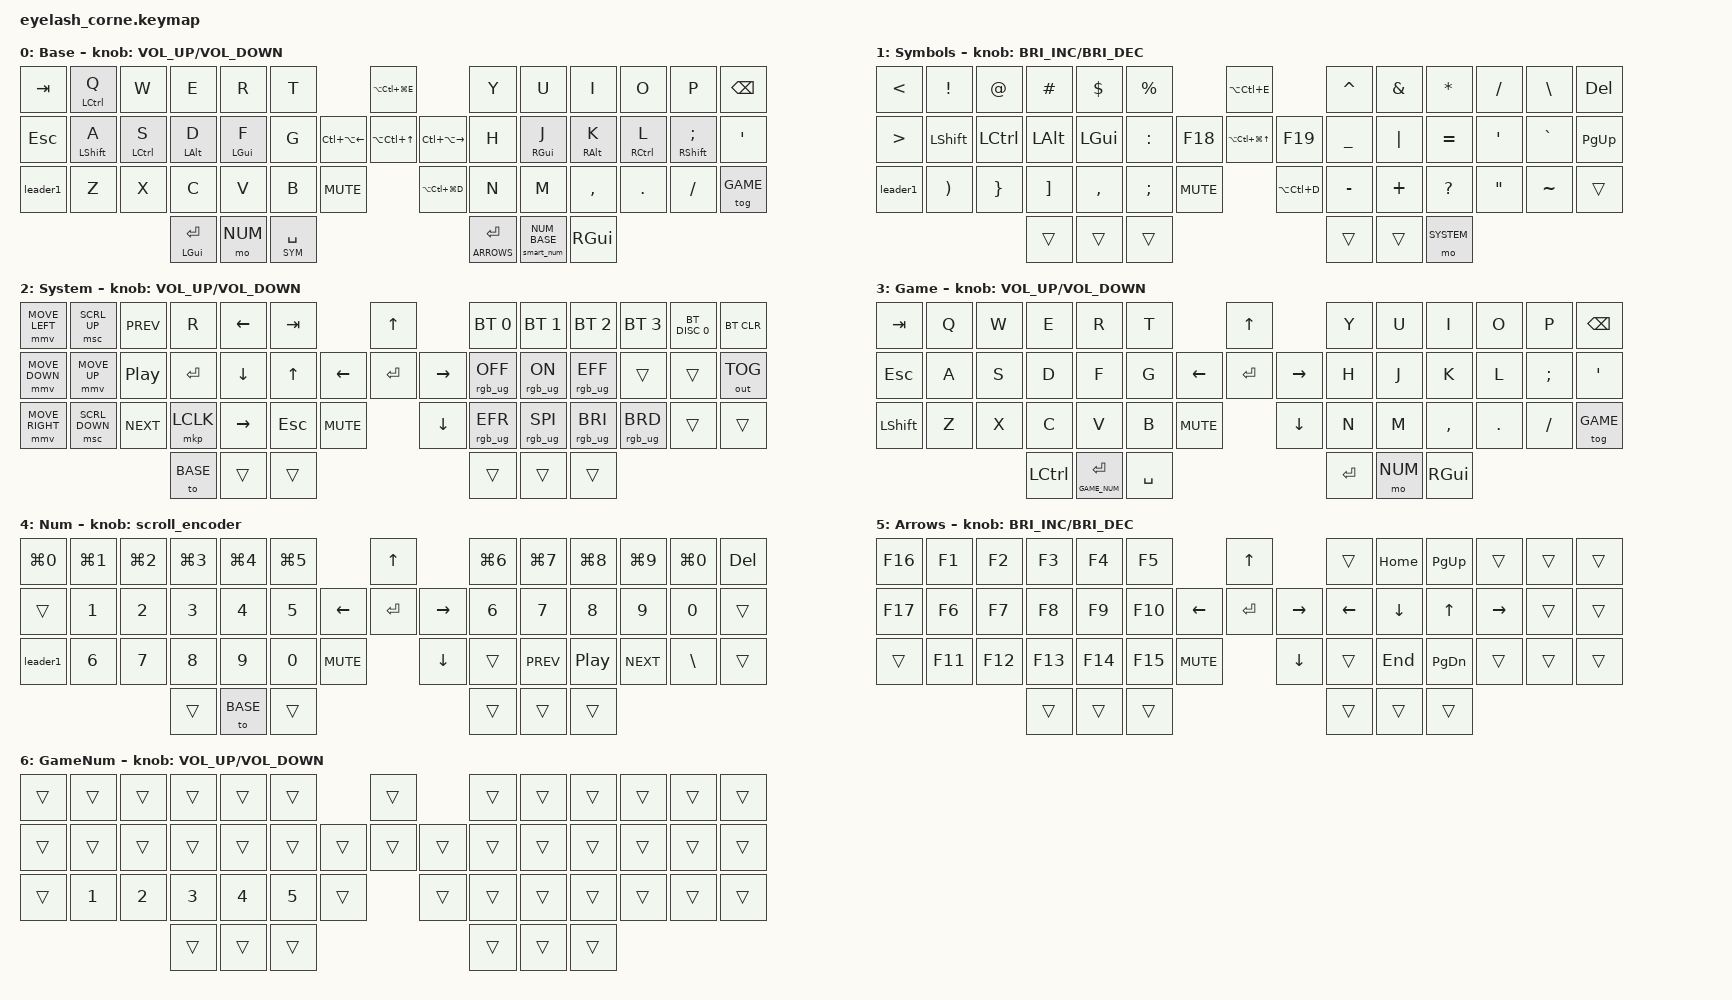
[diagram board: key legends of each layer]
// Настройки указателя мыши
#define ZMK_POINTING_DEFAULT_MOVE_VAL 600  // Скорость движения курсора
#define ZMK_POINTING_DEFAULT_SCRL_VAL 25   // Скорость прокрутки

// Подключение необходимых библиотек и определений
#include <input/processors.dtsi>
#include <zephyr/dt-bindings/input/input-event-codes.h>
#include <behaviors.dtsi>
#include <behaviors/num_word.dtsi> 

#include <dt-bindings/zmk/bt.h>
#include <dt-bindings/zmk/ext_power.h>
#include <dt-bindings/zmk/keys.h>
#include <dt-bindings/zmk/outputs.h>
#include <dt-bindings/zmk/pointing.h>
#include <dt-bindings/zmk/rgb.h>

// Пользовательские хелперы и определения
#include "zmk-helpers/helper.h"
#include "eyelash_corne/keymap.h"

// Определение слоев клавиатуры
#define BASE 0      // Основной слой
#define SYM 1       // Слой символов
#define SYSTEM 2    // Системный слой
#define GAME 3      // Игровой слой
#define NUM 4       // Цифровой слой
#define ARROWS 5    // Стрелки
#define GAME_NUM 6  // Игровой подслой цифр (слоты оружия, удержание среднего тумба в GAME)

// Определение групп клавиш для удобства настройки
#define KEYS_L LT0 LT1 LT2 LT3 LT4 LT5 LM0 LM1 LM2 LM3 LM4 LM5 LB0 LB1 LB2 LB3 LB4 LB5  // Левая половина
#define KEYS_R RT0 RT1 RT2 RT3 RT4 RT5 RM0 RM1 RM2 RM3 RM4 RM5 RB0 RB1 RB2 RB3 RB4 RB5  // Правая половина
#define THUMBS LH2 LH1 LH0 RH0 RH1 RH2   // Клавиши для больших пальцев

// Время для быстрого нажатия в миллисекундах
#define QUICK_TAP_MS 175

// Определение комбинации копирования/вырезания: копировать по одному нажатию, вырезать по двойному
// Не используется
ZMK_TAP_DANCE(copy_cut, bindings = <&kp LG(C)>, <&kp LG(X)>;
              tapping-term-ms = <200>;)

// Переключение слоев по двойному нажатию
// Не используется
ZMK_TAP_DANCE(layerdance, bindings = <&tog NUM>, <&tog ARROWS>;
              tapping-term-ms = <200>;)

// удержание или одиночное нажатие - LGUI, двойное нажатие - ENTER
ZMK_TAP_DANCE(td_gui_ret, bindings = <&kp LGUI>, <&kp ENTER>;
              tapping-term-ms = <200>;)
              
// удержание или одиночное нажатие - LCTRL, двойное нажатие - SPACE
ZMK_TAP_DANCE(td_ctrl_spc, bindings = <&kp LCTRL>, <&kp SPACE>;
              tapping-term-ms = <220>;)
              
// Настройка поведения клавиш home-row mods для левой руки
ZMK_HOLD_TAP(hml,
    flavor = "tap-preferred";
    tapping-term-ms = <180>;
    require-prior-idle-ms = <QUICK_TAP_MS>;
    quick-tap-ms = <QUICK_TAP_MS>;
    bindings = <&kp>, <&kp>;
)

// Настройка поведения клавиш home-row mods для правой руки
ZMK_HOLD_TAP(hmr,
    flavor = "tap-preferred";
    tapping-term-ms = <180>;
    require-prior-idle-ms = <QUICK_TAP_MS>;
    quick-tap-ms = <QUICK_TAP_MS>;
    bindings = <&kp>, <&kp>;
)

// Настройка масштабирования движения мыши
&mmv_input_listener { input-processors = <&zip_xy_scaler 2 1>; };

// Настройка масштабирования прокрутки
&msc_input_listener { input-processors = <&zip_scroll_scaler 2 1>; };

// Определение умного цифрового слоя
// Удерживаете клавишу - временный доступ к цифровому слою
// Одно нажатие - цифровой слой активен пока вводите цифры
// Двойное нажатие - цифровой слой активен для следующего, одного нажатия
#define SMART_NUM &smart_num NUM BASE
ZMK_HOLD_TAP(smart_num, bindings = <&mo>, <&num_dance>; flavor = "balanced";
             tapping-term-ms = <200>; quick-tap-ms = <QUICK_TAP_MS>;)
ZMK_TAP_DANCE(num_dance, bindings = <&num_word NUM>, <&sl NUM>;
              tapping-term-ms = <200>;)

// Настройки прокрутки мыши
&msc {
    acceleration-exponent = <1>;      // Экспонента ускорения
    time-to-max-speed-ms = <100>;    // Время до максимальной скорости
    delay-ms = <0>;                  // Задержка
};

// Настройки движения мыши
&mmv {
    time-to-max-speed-ms = <500>;    // Время до максимальной скорости
    acceleration-exponent = <1>;      // Экспонента ускорения
    trigger-period-ms = <16>;        // Период срабатывания
};


/ {
    // Определение условных слоев
    // conditional_layers {
        // compatible = "zmk,conditional-layers";

        // Активация системного слоя при одновременном включении SYM и NUM
        // adjust_layer {
            // if-layers = <SYM NUM>;
            // then-layer = <SYSTEM>;
        // };
    // };

    // Определение пользовательских поведений клавиш
    behaviors {
        leader1: leader1 {
            compatible = "zmk,behavior-leader-key";
            #binding-cells = <0>;
            r_ws { sequence = <L>; bindings = <&kp LC(LG(RIGHT_ARROW))>; };
            l_ws { sequence = <H>; bindings = <&kp LC(LG(LEFT_ARROW))>; };
            ctrl_tab_d_seq { sequence = <D B>; bindings = <&ctrl_tab_d>; };
            ws1 { sequence = <Z>; bindings = <&kp LC(N1)>; };
            ws2 { sequence = <X>; bindings = <&kp LC(N2)>; };

            to_arrows { sequence = <A R>; bindings = <&to ARROWS>; };
            arrows_2_base { sequence = <F6 F4>; bindings = <&to BASE>; };

            cmd_0 { sequence = <GT>; bindings = <&kp LG(N0)>; };
            cmd_1 { sequence = <LSHFT>; bindings = <&kp LG(N1)>; };
            cmd_2 { sequence = <LCTRL>; bindings = <&kp LG(N2)>; };
            cmd_3 { sequence = <LALT>; bindings = <&kp LG(N3)>; };
            cmd_4 { sequence = <LGUI>; bindings = <&kp LG(N4)>; };
            cmd_5 { sequence = <COLON>; bindings = <&kp LG(N5)>; };

            to_system { sequence = <S>; bindings = <&to SYSTEM>; };
            to_base { sequence = <R LEFT>; bindings = <&to BASE>; };
        };
        sym_num: sym_num {
            compatible = "zmk,behavior-hold-tap";
            #binding-cells = <2>;
            flavor = "hold-preferred";
            tapping-term-ms = <200>;
            bindings = <&mo>, <&to>;
        };
        gui_ret: gui_ret {
            compatible = "zmk,behavior-hold-tap";
            #binding-cells = <2>;
            flavor = "balanced";
            tapping-term-ms = <200>;
            quick-tap-ms = <200>;
            bindings = <&kp>, <&td_gui_ret>;
        };
    };

    // Настройка энкодера для управления RGB подсветкой
    rgb_encoder: rgb_encoder {
        compatible = "zmk,behavior-sensor-rotate";
        #sensor-binding-cells = <0>;
        bindings = <&rgb_ug RGB_BRI>, <&rgb_ug RGB_BRD>;
    };

    // Настройка энкодера для прокрутки
    scroll_encoder: scroll_encoder {
        compatible = "zmk,behavior-sensor-rotate";
        #sensor-binding-cells = <0>;
        bindings = <&msc SCRL_DOWN>, <&msc SCRL_UP>;
        tap-ms = <100>;
    };

    // Определение макросов
    macros {
        ctrl_tab_d: ctrl_tab_d {
            compatible = "zmk,behavior-macro";
            #binding-cells = <0>;
            wait-ms = <30>;
            tap-ms = <20>;
            bindings
                = <&macro_press &kp LCTRL>
                , <&macro_tap &kp TAB>
                , <&macro_tap &kp D>
                , <&macro_release &kp LCTRL>
                ;
        };
    };
              
    combos {
        compatible = "zmk,combos";

        //// Нижний ряд (слева)

        // XC ` обратная кавычка
        combo_grave {
            bindings = <&kp GRAVE>;
            key-positions = <LB3 LB2>;
            timeout-ms = <20>;
            layers = <BASE SYM NUM ARROWS>;
        };

        // CV PIPE
        paste {
            bindings = <&kp PIPE>;
            key-positions = <LB2 LB1>;
            timeout-ms = <20>;
            layers = <BASE SYM NUM ARROWS>;
        };

        // VB левая квадратная скобка [
        combo_LEFT_BRACKET {
            bindings = <&kp LEFT_BRACKET>;
            key-positions = <LB1 LB0>;
            timeout-ms = <20>;
            layers = <BASE SYM NUM ARROWS>;
        };

        // combo_ {
        //     bindings = <&kp>;
        //     key-positions = <LB4 LB3>;
        //     timeout-ms = <20>;
        //     layers = <BASE SYM NUM ARROWS>;
        // };

        // ZV повторить (Z + V)
        redo {
            bindings = <&kp LG(LS(Z))>;
            key-positions = <LB4 LB1>;
            timeout-ms = <20>;
            layers = <BASE SYM NUM ARROWS>;
        };
        
        //// Нижний ряд (справа)
        
        // NM правая квадратная скобка ]
        combo_RIGHT_BRACKET {
            bindings = <&kp RIGHT_BRACKET>;
            key-positions = <RB0 RB1>;
            timeout-ms = <20>;
            layers = <BASE SYM NUM ARROWS>;
        };
        
        // M, & амперсанд
        combo_ampersand {
            bindings = <&kp AMPERSAND>;
            key-positions = <RB1 RB2>;
            timeout-ms = <20>;
            layers = <BASE SYM NUM ARROWS>;
        };
        
        // точка и 00 ~ тильда
        combo_TILDE {
            bindings = <&kp TILDE>;
            key-positions = <RB2 RB3>;
            timeout-ms = <20>;
            layers = <BASE SYM NUM ARROWS>;
        };

        // combo_ {
        //     bindings = <&kp >;
        //     key-positions = <RB3 RB4>;
        //     timeout-ms = <20>;
        // };

        // combo_test_rb4_rb5 {
        //     bindings = <&kp N3>;
        //     key-positions = <RB4 RB5>;
        //     timeout-ms = <20>;
        // };
        
        //// Верхний ряд (слева)

        // combo_lt5_lt4 {
        //     bindings = <&kp >;
        //     key-positions = <LT5 LT4>;
        //     timeout-ms = <20>;
        // };
        
        // QW
        // combo_ {
        //     bindings = <&kp >;
        //     key-positions = <LT4 LT3>;
        //     timeout-ms = <20>;
        //     layers = <BASE SYM NUM ARROWS>;
        // };
        
        // WE левая фигурная скобка
        combo_left_brace {
            bindings = <&kp LEFT_BRACE>;
            key-positions = <LT3 LT2>;
            timeout-ms = <20>;
            layers = <BASE SYM NUM ARROWS>;
        };
        
        // ER ' апостроф/одинарная кавычка
        combo_SINGLE_QUOTE {
            bindings = <&kp SINGLE_QUOTE>;
            key-positions = <LT2 LT1>;
            timeout-ms = <20>;
            layers = <BASE SYM NUM ARROWS>;
        };
        
        // RT - знак больше >
        combo_GREATER_THAN {
            bindings = <&kp GREATER_THAN>;
            key-positions = <LT1 LT0>;
            timeout-ms = <20>;
            layers = <BASE SYM NUM ARROWS>;
        };
        
        //// Верхний ряд (справа)

        // YU знак меньше <
        combo_LESS_THAN {
            bindings = <&kp LESS_THAN>;
            key-positions = <RT0 RT1>;
            timeout-ms = <20>;
        };
        
        // UI " Двойная кавычка
        combo_DOUBLE_QUOTES {
            bindings = <&kp DOUBLE_QUOTES>;
            key-positions = <RT1 RT2>;
            timeout-ms = <20>;
        };
        
        // IO правая фигурная скобка
        combo_RIGHT_BRACE {
            bindings = <&kp RIGHT_BRACE>;
            key-positions = <RT2 RT3>;
            timeout-ms = <20>;
        };
        
        // OP 
        // combo_GREATER_THAN {
        //     bindings = <&kp>;
        //     key-positions = <RT3 RT4>;
        //     timeout-ms = <20>;
        // };
        
        // combo_rt4_rt5 {
        //     bindings = <>;
        //     key-positions = <RT4 RT5>;
        //     timeout-ms = <20>;
        // };

        ///// Средний ряд (слева)
        // combo_lm5_lm4 {
        //     bindings = <&kp>;
        //     key-positions = <LM5 LM4>;
        //     timeout-ms = <20>;
        // };
        
        // combo_ {
        //     bindings = <&kp >;
        //     key-positions = <LM4 LM3>;
        //     timeout-ms = <20>;
        //     layers = <BASE SYM NUM ARROWS>;
        // };
        
        // SD левая круглая скобка 
        combo_left_parenthesis {
            bindings = <&kp LEFT_PARENTHESIS>;
            key-positions = <LM3 LM2>;
            timeout-ms = <20>;
            layers = <BASE SYM NUM ARROWS>;
        };
        
        // DF ^
        combo_caret {
            bindings = <&kp CARET>;
            key-positions = <LM2 LM1>;
            timeout-ms = <20>;
            layers = <BASE SYM NUM ARROWS>;
        };
        
        // FG минус/тире/дефис
        combo_minus {
            bindings = <&kp MINUS>;
            key-positions = <LM1 LM0>;
            timeout-ms = <20>;
            layers = <BASE SYM NUM ARROWS>;
        };

        //// Средний ряд (справа)

        // HJ равно
        combo_EQUAL {
            bindings = <&kp EQUAL>;
            key-positions = <RM0 RM1>;
            timeout-ms = <20>;
        };
        
        // JK $
        combo_dollar {
            bindings = <&kp DOLLAR>;
            key-positions = <RM1 RM2>;             
            timeout-ms = <20>;
        };
        
        // KL правая круглая скобка
        combo_right_parenthesis {
            bindings = <&kp RIGHT_PARENTHESIS>;
            key-positions = <RM2 RM3>;
            timeout-ms = <20>;
        };
        
        // combo_rm3_rm4 {
        //     bindings = <&kp >;
        //     key-positions = <RM3 RM4>;
        //     timeout-ms = <20>;
        // };
        
        // звезда и бомба DEL
        // combo_del {
        //     bindings = <&kp >;
        //     key-positions = <RM4 RM5>;
        //     timeout-ms = <20>;
        // };
    };
    // Определение раскладки клавиатуры
    keymap {
        compatible = "zmk,keymap";

        // Основной слой - стандартная раскладка с модификаторами
        default_layer {
            display-name = "Base";
            bindings = <
//╭───────────────┬───────────────┬───────────────┬───────────────┬───────────────┬───────────────╮                                            ╭───────────────╮                        ╭───────────────┬───────────────┬───────────────┬───────────────┬───────────────┬───────────────╮
    &kp TAB         &hml LCTRL Q    &kp W           &kp E           &kp R           &kp T                                                       &kp LA(LC(LG(E)))                         &kp Y           &kp U           &kp I           &kp O           &kp P           &kp BSPC
//├───────────────┼───────────────┼───────────────┼───────────────┼───────────────┼───────────────┤                            ╭───────────────┼───────────────┼───────────────╮        ├───────────────┼───────────────┼───────────────┼───────────────┼───────────────┼───────────────┤
    &kp ESC         &hml LSHFT A    &hml LCTRL S    &hml LALT D     &hml LGUI F     &kp G                            &kp LC(LA(LEFT_ARROW)) &kp LA(LC(UP_ARROW)) &kp LC(LA(RIGHT_ARROW))  &kp H           &hmr RGUI J     &hmr RALT K    &hmr RCTRL L     &hmr RSHFT SEMI &kp SQT
//├───────────────┼───────────────┼───────────────┼───────────────┼───────────────┼───────────────┤    ╭───────────────╮       ╰───────────────┼───────────────┼───────────────╯        ├───────────────┼───────────────┼───────────────┼───────────────┼───────────────┼───────────────┤
    &leader1        &kp Z           &kp X           &kp C           &kp V           &kp B                &kp C_MUTE                             &kp LA(LC(LG(D)))                         &kp N           &kp M           &kp COMMA       &kp DOT         &kp FSLH        &tog GAME
//╰───────────────┴───────────────┴───────────────┼───────────────┼───────────────┼───────────────┤    ╰───────────────╯                       ╰───────────────╯                        ├───────────────┼───────────────┼───────────────┼───────────────┼───────────────┼───────────────╯
                                              &gui_ret LGUI ENTER   &mo NUM         &lt SYM SPACE                                                                                       &lt ARROWS ENTER  SMART_NUM       &kp RGUI
//                                                ╰───────────────┴───────────────┴───────────────╯                                                                                     ╰───────────────┴───────────────┴───────────────╯
            >;
            sensor-bindings = <&inc_dec_kp C_VOLUME_UP C_VOLUME_DOWN>;
        };

        // Слой символов - специальные символы и управление мышью
        sym_layer {
            display-name = "Symbols";
            bindings = <
//╭───────────────┬───────────────┬───────────────┬───────────────┬───────────────┬───────────────╮                                            ╭───────────────╮                        ╭───────────────┬───────────────┬───────────────┬───────────────┬───────────────┬───────────────╮
    &kp LT          &kp EXCL        &kp AT          &kp POUND       &kp DOLLAR      &kp PERCENT                                                  &kp LA(LC(E))                            &kp CARET       &kp AMPS        &kp ASTRK       &kp SLASH       &kp BSLH        &kp DEL
//├───────────────┼───────────────┼───────────────┼───────────────┼───────────────┼───────────────┤                            ╭───────────────┼───────────────┼───────────────╮        ├───────────────┼───────────────┼───────────────┼───────────────┼───────────────┼───────────────┤
    &kp GT          &kp LSHFT       &kp LCTRL       &kp LALT        &kp LGUI        &kp COLON                                   &kp F18    &kp LA(LC(LG(UP_ARROW))) &kp F19               &kp UNDER       &kp PIPE        &kp EQUAL       &kp SQT         &kp GRAVE       &kp PG_UP
//├───────────────┼───────────────┼───────────────┼───────────────┼───────────────┼───────────────┤    ╭───────────────╮       ╰───────────────┼───────────────┼───────────────╯        ├───────────────┼───────────────┼───────────────┼───────────────┼───────────────┼───────────────┤
    &leader1        &kp RPAR        &kp RBRC        &kp RBKT        &kp COMMA       &kp SEMI             &kp C_MUTE                              &kp LA(LC(D))                            &kp MINUS       &kp PLUS        &kp QMARK       &kp DQT         &kp TILDE       &trans
//╰───────────────┴───────────────┴───────────────┼───────────────┼───────────────┼───────────────┤    ╰───────────────╯                       ╰───────────────╯                        ├───────────────┼───────────────┼───────────────┼───────────────┼───────────────┼───────────────╯
                                                    &trans          &trans          &trans                                                                                                &trans          &trans          &mo SYSTEM
//                                                ╰───────────────┴───────────────┴───────────────╯                                                                                     ╰───────────────┴───────────────┴───────────────╯
            >;
            sensor-bindings = <&inc_dec_kp C_BRIGHTNESS_INC C_BRIGHTNESS_DEC>;
        };

        // Системный слой - функциональные клавиши и управление системой
        system_layer {
            display-name = "System";
            bindings = <
//╭───────────────┬───────────────┬───────────────┬───────────────┬───────────────┬───────────────╮                                            ╭───────────────╮                        ╭───────────────┬───────────────┬───────────────┬───────────────┬───────────────┬───────────────╮
   &mmv MOVE_LEFT   &msc SCRL_UP    &kp C_PREV      &kp R           &kp LEFT        &kp TAB                                                      &kp UP                                   &bt BT_SEL 0    &bt BT_SEL 1    &bt BT_SEL 2    &bt BT_SEL 3    &bt BT_DISC 0   &bt BT_CLR
//├───────────────┼───────────────┼───────────────┼───────────────┼───────────────┼───────────────┤                            ╭───────────────┼───────────────┼───────────────╮        ├───────────────┼───────────────┼───────────────┼───────────────┼───────────────┼───────────────┤
   &mmv MOVE_DOWN   &mmv MOVE_UP    &kp C_PP        &kp RETURN      &kp DOWN        &kp UP                                       &kp LEFT        &kp ENTER       &kp RIGHT               &rgb_ug RGB_OFF  &rgb_ug RGB_ON  &rgb_ug RGB_EFF &trans          &trans          &out OUT_TOG
//├───────────────┼───────────────┼───────────────┼───────────────┼───────────────┼───────────────┤    ╭───────────────╮       ╰───────────────┼───────────────┼───────────────╯        ├───────────────┼───────────────┼───────────────┼───────────────┼───────────────┼───────────────┤
   &mmv MOVE_RIGHT  &msc SCRL_DOWN  &kp C_NEXT      &mkp LCLK       &kp RIGHT       &kp ESC              &kp C_MUTE                              &kp DOWN                                &rgb_ug RGB_EFR  &rgb_ug RGB_SPI &rgb_ug RGB_BRI &rgb_ug RGB_BRD &trans          &trans
//╰───────────────┴───────────────┴───────────────┼───────────────┼───────────────┼───────────────┤    ╰───────────────╯                       ╰───────────────╯                        ├───────────────┼───────────────┼───────────────┼───────────────┼───────────────┼───────────────╯
                                                    &to BASE        &trans          &trans                                                                                                &trans          &trans          &trans
//                                                ╰───────────────┴───────────────┴───────────────╯                                                                                     ╰───────────────┴───────────────┴───────────────╯
            >;
            sensor-bindings = <&inc_dec_kp C_VOLUME_UP C_VOLUME_DOWN>;
        };

        // Игровой слой - упрощенная раскладка без модификаторов
        game_layer {
            display-name = "Game";
            // Игровые левые большие пальцы: SPACE (прыжок/стрельба), LCTRL (CS: присед),
            // средний тумб: тап ENTER (Factorio: сесть/выйти машины), удержание — подслой GAME_NUM (слоты оружия 1-5)
            bindings = <
//╭───────────────┬───────────────┬───────────────┬───────────────┬───────────────┬───────────────╮                                            ╭───────────────╮                        ╭───────────────┬───────────────┬───────────────┬───────────────┬───────────────┬───────────────╮
    &kp TAB         &kp Q           &kp W           &kp E           &kp R           &kp T                                                        &kp UP                                   &kp Y           &kp U           &kp I           &kp O           &kp P           &kp BSPC
//├───────────────┼───────────────┼───────────────┼───────────────┼───────────────┼───────────────┤                            ╭───────────────┼───────────────┼───────────────╮        ├───────────────┼───────────────┼───────────────┼───────────────┼───────────────┼───────────────┤
    &kp ESC         &kp A           &kp S           &kp D           &kp F           &kp G                                        &kp LEFT        &kp ENTER       &kp RIGHT                &kp H           &kp J           &kp K           &kp L           &kp SEMI        &kp SQT
//├───────────────┼───────────────┼───────────────┼───────────────┼───────────────┼───────────────┤    ╭───────────────╮       ╰───────────────┼───────────────┼───────────────╯        ├───────────────┼───────────────┼───────────────┼───────────────┼───────────────┼───────────────┤
    &kp LSHFT       &kp Z           &kp X           &kp C           &kp V           &kp B                &kp C_MUTE                              &kp DOWN                                 &kp N           &kp M           &kp COMMA       &kp DOT         &kp FSLH        &tog GAME
//╰───────────────┴───────────────┴───────────────┼───────────────┼───────────────┼───────────────┤    ╰───────────────╯                       ╰───────────────╯                        ├───────────────┼───────────────┼───────────────┼───────────────┼───────────────┼───────────────╯
                                                    &kp LCTRL       &lt GAME_NUM ENTER     &kp SPACE                                                                                          &kp ENTER       &mo NUM         &kp RGUI
//                                                ╰───────────────┴───────────────┴───────────────╯                                                                                     ╰───────────────┴───────────────┴───────────────╯
            >;
            sensor-bindings = <&inc_dec_kp C_VOLUME_UP C_VOLUME_DOWN>;
        };

        // Цифровой слой - цифры и управление мышью
        num_layer {
            display-name = "Num";
            bindings = <
//╭───────────────┬───────────────┬───────────────┬───────────────┬───────────────┬───────────────╮                                            ╭───────────────╮                        ╭───────────────┬───────────────┬───────────────┬───────────────┬───────────────┬───────────────╮
     &kp LG(N0)      &kp LG(N1)      &kp LG(N2)      &kp LG(N3)      &kp LG(N4)      &kp LG(N5)                                                  &kp UP                                    &kp LG(N6)      &kp LG(N7)      &kp LG(N8)      &kp LG(N9)     &kp LG(N0)     &kp DEL
//├───────────────┼───────────────┼───────────────┼───────────────┼───────────────┼───────────────┤                            ╭───────────────┼───────────────┼───────────────╮        ├───────────────┼───────────────┼───────────────┼───────────────┼───────────────┼───────────────┤
    &trans          &kp N1          &kp N2          &kp N3          &kp N4          &kp N5                                       &kp LEFT        &kp ENTER       &kp RIGHT                &kp N6          &kp N7          &kp N8          &kp N9          &kp N0          &trans
//├───────────────┼───────────────┼───────────────┼───────────────┼───────────────┼───────────────┤    ╭───────────────╮       ╰───────────────┼───────────────┼───────────────╯        ├───────────────┼───────────────┼───────────────┼───────────────┼───────────────┼───────────────┤
    &leader1        &kp N6          &kp N7          &kp N8          &kp N9          &kp N0               &kp C_MUTE                              &kp DOWN                                 &trans          &kp C_PREV      &kp C_PP        &kp C_NEXT      &kp BACKSLASH   &trans
//╰───────────────┴───────────────┴───────────────┼───────────────┼───────────────┼───────────────┤    ╰───────────────╯                       ╰───────────────╯                        ├───────────────┼───────────────┼───────────────┼───────────────┼───────────────┼───────────────╯
                                                    &trans          &to BASE        &trans                                                                                                &trans          &trans          &trans
//                                                ╰───────────────┴───────────────┴───────────────╯                                                                                     ╰───────────────┴───────────────┴───────────────╯
            >;
            sensor-bindings = <&scroll_encoder>;
        };
        
        // Стрелки - упрощенная раскладка без модификаторов
        arrow_layer {
            display-name = "Arrows";
            bindings = <
//╭───────────────┬───────────────┬───────────────┬───────────────┬───────────────┬───────────────╮                                            ╭───────────────╮                        ╭───────────────┬───────────────┬───────────────┬───────────────┬───────────────┬───────────────╮
    &kp F16         &kp F1          &kp F2          &kp F3          &kp F4          &kp F5                                                       &kp UP                                   &trans          &kp HOME        &kp PAGE_UP     &trans          &trans          &trans
//├───────────────┼───────────────┼───────────────┼───────────────┼───────────────┼───────────────┤                            ╭───────────────┼───────────────┼───────────────╮        ├───────────────┼───────────────┼───────────────┼───────────────┼───────────────┼───────────────┤
    &kp F17         &kp F6          &kp F7          &kp F8          &kp F9          &kp F10                                      &kp LEFT        &kp ENTER       &kp RIGHT                &kp LEFT_ARROW  &kp DOWN_ARROW  &kp UP_ARROW   &kp RIGHT_ARROW  &trans          &trans
//├───────────────┼───────────────┼───────────────┼───────────────┼───────────────┼───────────────┤    ╭───────────────╮       ╰───────────────┼───────────────┼───────────────╯        ├───────────────┼───────────────┼───────────────┼───────────────┼───────────────┼───────────────┤
    &trans          &kp F11         &kp F12         &kp F13         &kp F14         &kp F15              &kp C_MUTE                              &kp DOWN                                 &trans          &kp END         &kp PAGE_DOWN   &trans          &trans          &trans
//╰───────────────┴───────────────┴───────────────┼───────────────┼───────────────┼───────────────┤    ╰───────────────╯                       ╰───────────────╯                        ├───────────────┼───────────────┼───────────────┼───────────────┼───────────────┼───────────────╯
                                                    &trans          &trans          &trans                                                                                                &trans          &trans          &trans
//                                                ╰───────────────┴───────────────┴───────────────╯                                                                                     ╰───────────────┴───────────────┴───────────────╯
            >;
            sensor-bindings = <&inc_dec_kp C_BRIGHTNESS_INC C_BRIGHTNESS_DEC>;
        };
        // Игровой подслой: только удержание (&lt) среднего левого тумба в GAME.
        // Всё прозрачно в GAME (WASD, Q/E/R, Shift, тумбы работают во время удержания);
        // нижний ряд ZXCVB -> слоты оружия 1-5 (CS: основное/пистолет/нож/гранаты/бомба).
        game_num_layer {
            display-name = "GameNum";
            bindings = <
//╭───────────────┬───────────────┬───────────────┬───────────────┬───────────────┬───────────────╮                                            ╭───────────────╮                        ╭───────────────┬───────────────┬───────────────┬───────────────┬───────────────┬───────────────╮
    &trans          &trans          &trans          &trans          &trans          &trans                                                       &trans                                   &trans          &trans          &trans          &trans          &trans          &trans  
//├───────────────┼───────────────┼───────────────┼───────────────┼───────────────┼───────────────┤                            ╭───────────────┼───────────────┼───────────────╮        ├───────────────┼───────────────┼───────────────┼───────────────┼───────────────┼───────────────┤
    &trans          &trans          &trans          &trans          &trans          &trans                                       &trans          &trans          &trans                   &trans          &trans          &trans          &trans          &trans          &trans 
//├───────────────┼───────────────┼───────────────┼───────────────┼───────────────┼───────────────┤    ╭───────────────╮       ╰───────────────┼───────────────┼───────────────╯        ├───────────────┼───────────────┼───────────────┼───────────────┼───────────────┼───────────────┤
    &trans          &kp N1          &kp N2          &kp N3          &kp N4          &kp N5               &trans                                  &trans                                   &trans          &trans          &trans          &trans          &trans          &trans   
//╰───────────────┴───────────────┴───────────────┼───────────────┼───────────────┼───────────────┤    ╰───────────────╯                       ╰───────────────╯                        ├───────────────┼───────────────┼───────────────┼───────────────┼───────────────┼───────────────╯
                                                    &trans          &trans                 &trans                                                                                             &trans          &trans          &trans  
//                                                ╰───────────────┴───────────────┴───────────────╯                                                                                     ╰───────────────┴───────────────┴───────────────╯
            >;
            sensor-bindings = <&inc_dec_kp C_VOLUME_UP C_VOLUME_DOWN>;
        };
    };
};
